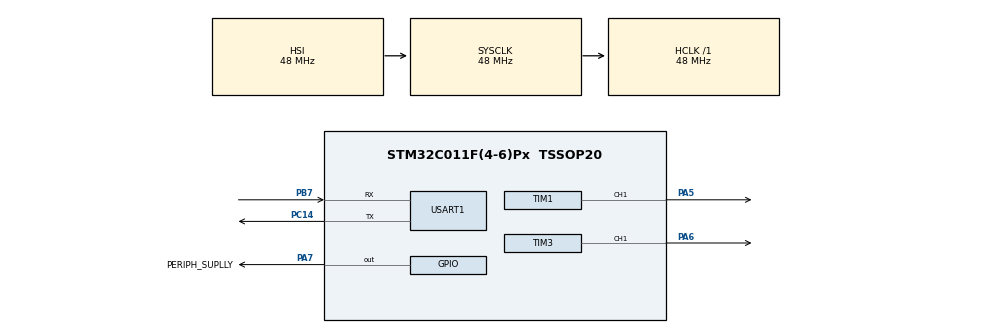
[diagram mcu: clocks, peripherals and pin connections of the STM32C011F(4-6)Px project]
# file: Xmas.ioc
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Dma.Request0=TIM3_CH1
Dma.TIM3_CH1.0.Direction=DMA_MEMORY_TO_PERIPH
Dma.TIM3_CH1.0.EventEnable=DISABLE
Dma.TIM3_CH1.0.Instance=DMA1_Channel1
Dma.TIM3_CH1.0.MemDataAlignment=DMA_MDATAALIGN_HALFWORD
Dma.TIM3_CH1.0.MemInc=DMA_MINC_ENABLE
Dma.TIM3_CH1.0.Mode=DMA_NORMAL
Dma.TIM3_CH1.0.PeriphDataAlignment=DMA_PDATAALIGN_HALFWORD
Dma.TIM3_CH1.0.PeriphInc=DMA_PINC_DISABLE
Dma.TIM3_CH1.0.Polarity=HAL_DMAMUX_REQ_GEN_RISING
Dma.TIM3_CH1.0.Priority=DMA_PRIORITY_VERY_HIGH
Dma.TIM3_CH1.0.RequestNumber=1
Dma.TIM3_CH1.0.SignalID=NONE
Dma.TIM3_CH1.0.SyncEnable=DISABLE
Dma.TIM3_CH1.0.SyncPolarity=HAL_DMAMUX_SYNC_NO_EVENT
Dma.TIM3_CH1.0.SyncRequestNumber=1
Dma.TIM3_CH1.0.SyncSignalID=NONE
Mcu.Family=STM32C0
Mcu.Name=STM32C011F(4-6)Px
Mcu.Package=TSSOP20
NVIC.DMA1_Channel1_IRQn=true\:0\:0\:false\:false\:true\:false\:true\:true
PA13.Mode=Serial_Wire
PA13.Signal=DEBUG_SWDIO
PA14-BOOT0.Mode=Serial_Wire
PA14-BOOT0.Signal=DEBUG_SWCLK
PA5.GPIO_Speed=GPIO_SPEED_FREQ_HIGH
PA5.Signal=S_TIM1_CH1
PA6.GPIO_Speed=GPIO_SPEED_FREQ_HIGH
PA6.PinState=GPIO_PIN_SET
PA6.Signal=S_TIM3_CH1
PA7.GPIO_Label=PERIPH_SUPLLY
PA7.GPIO_ModeDefaultOutputPP=GPIO_MODE_OUTPUT_OD
PA7.GPIO_PuPd=GPIO_PULLUP
PA7.GPIO_Speed=GPIO_SPEED_FREQ_LOW
PA7.PinState=GPIO_PIN_RESET
PA7.Signal=GPIO_Output
PB7.Mode=Asynchronous
PB7.Signal=USART1_RX
PC14-OSCX_IN\ (PC14).Mode=Asynchronous
PC14-OSCX_IN\ (PC14).Signal=USART1_TX
ProjectManager.HeapSize=0x200
ProjectManager.StackSize=0x400
ProjectManager.TargetToolchain=STM32CubeIDE
RCC.ADCFreq_Value=48000000
RCC.AHBFreq_Value=48000000
RCC.CortexFreq_Value=48000000
RCC.EXTERNAL_CLOCK_VALUE=12288000
RCC.HCLKFreq_Value=48000000
RCC.HSE_VALUE=8000000
RCC.HSISYSCLKDivider=RCC_HSI_DIV1
RCC.HSI_VALUE=48000000
RCC.LSE_VALUE=32768
RCC.SYSCLKFreq_VALUE=48000000
SH.S_TIM1_CH1.0=TIM1_CH1,PWM Generation1 CH1
SH.S_TIM3_CH1.0=TIM3_CH1,PWM Generation1 CH1
TIM1.Channel-PWM\ Generation1\ CH1=TIM_CHANNEL_1
TIM1.Period=50
TIM1.Prescaler=479
TIM3.Channel-PWM\ Generation1\ CH1=TIM_CHANNEL_1
TIM3.Period=9
TIM3.Prescaler=5
USART1.VirtualMode-Asynchronous=VM_ASYNC
VP_TIM1_VS_ClockSourceINT.Mode=Internal
VP_TIM3_VS_ClockSourceINT.Mode=Internal
board=custom

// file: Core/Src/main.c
/* USER CODE BEGIN Header */
/**
  ******************************************************************************
  * @file           : main.c
  * @brief          : Main program body
  ******************************************************************************
  * @attention
  *
  * Copyright (c) 2025 STMicroelectronics.
  * All rights reserved.
  *
  * This software is licensed under terms that can be found in the LICENSE file
  * in the root directory of this software component.
  * If no LICENSE file comes with this software, it is provided AS-IS.
  *
  ******************************************************************************
  */
/* USER CODE END Header */
#include "main.h"
#include <stdlib.h>
#include <string.h>
#include <math.h>
#include "WS2812B.h"

TIM_HandleTypeDef htim1;
TIM_HandleTypeDef htim3;
DMA_HandleTypeDef hdma_tim3_ch1;

UART_HandleTypeDef huart1;

/* USER CODE BEGIN PV */
//uint16_t buffer[28]; //pazi sto ti pise u IOC-u za DMA settings u ovom slucaju je Half Word sto je uint16_t

//buffer za LEDICE
uint32_t *pwmBuffer2 = NULL;

/* USER CODE END PV */

void SystemClock_Config(void);
static void MX_GPIO_Init(void);
static void MX_DMA_Init(void);
static void MX_TIM3_Init(void);
static void MX_TIM1_Init(void);
static void MX_USART1_UART_Init(void);
/* USER CODE BEGIN PFP */
//void begin(TIM_HandleTypeDef *_htim, DMA_HandleTypeDef *_hdmaPtr, uint32_t channel, uint32_t num_of_leds, uint32_t pause_Pulse, uint32_t work_Pulse, uint32_t prescaler);

/* USER CODE END PFP */

int main(void)
{

  /* MCU Configuration--------------------------------------------------------*/

  /* Reset of all peripherals, Initializes the Flash interface and the Systick. */
  HAL_Init();

  /* USER CODE BEGIN Init */
 // uint32_t melody_tone[] = {800, 956, 758};
 // uint32_t melody_dur[] = {1000, 1300, 1600};
  HAL_TIM_PWM_DeInit(&htim1);
  /* USER CODE END Init */

  /* Configure the system clock */
  SystemClock_Config();

  /* Initialize all configured peripherals */
  MX_GPIO_Init();
  MX_DMA_Init();
  MX_TIM3_Init();
  MX_TIM1_Init();
  MX_USART1_UART_Init();
  /* USER CODE BEGIN 2 */

  //melody1 is notes of jingle_bells melody  {E4, E4, E4, E4, E4, E4, E4, G4, C4 , D4 , E4, F4, F4, F4, F4, F4, E4, E4, E4, D4, D4, E4, D4, G4}
  uint16_t melody1[] = {329, 329, 329, 329, 329, 329, 329, 392, 261, 293, 329, 349, 349, 349, 349, 349, 329, 329, 329, 293, 293, 329, 293, 392};

  //duration of melodies
  uint16_t duration_melody[] = {250, 250, 250, 250, 250, 250, 250, 250, 250, 250, 250, 250, 250, 250, 250, 250, 250, 250, 250, 250, 250, 250, 250, 250};

  uint16_t brmelody = sizeof(melody1)/sizeof(uint16_t);

  uint32_t time = 0;
  begin(&htim3, &hdma_tim3_ch1 ,TIM_CHANNEL_1, 12);

	//free(pwmBuffer);
  /* USER CODE END 2 */

  /* Infinite loop */
  /* USER CODE BEGIN WHILE */
  while (1)
  {

		static int animation = 0;
		switch(animation)
		{
		case 0:
			X0();
			if(HAL_GetTick() - time >= 1000)
			  {
				animation = 1;
				time = HAL_GetTick();

			  }

			break;

		case 1:
			turnofLEDS();
			if(HAL_GetTick() - time >= 1000)
			  {
				animation = 2;
				time = HAL_GetTick();

			  }
			break;
		case 2:
			stars();
			if(HAL_GetTick() - time >= 1000)
			  {
				animation = 3;
				time = HAL_GetTick();

			  }
			break;
		case 3:
			turnofLEDS();
			if(HAL_GetTick() - time >= 500)
			  {
				animation = 4;
				time = HAL_GetTick();

			  }
			break;
		case 4:
			stars2();
			if(HAL_GetTick() - time >= 1000)
			  {
				animation = 0;
				time = HAL_GetTick();

			  }
			break;
		}
		//pwmBuffer[3] = (255<<0);

		turnOnLed(&htim3, &hdma_tim3_ch1 ,TIM_CHANNEL_1, 12);

    /* USER CODE END WHILE */

  }
}

void SystemClock_Config(void)
{
  RCC_OscInitTypeDef RCC_OscInitStruct = {0};
  RCC_ClkInitTypeDef RCC_ClkInitStruct = {0};

  /** Initializes the RCC Oscillators according to the specified parameters
  * in the RCC_OscInitTypeDef structure.
  */
  RCC_OscInitStruct.OscillatorType = RCC_OSCILLATORTYPE_HSI;
  RCC_OscInitStruct.HSIState = RCC_HSI_ON;
  RCC_OscInitStruct.HSIDiv = RCC_HSI_DIV1;
  RCC_OscInitStruct.HSICalibrationValue = RCC_HSICALIBRATION_DEFAULT;
  if (HAL_RCC_OscConfig(&RCC_OscInitStruct) != HAL_OK)
  {
    Error_Handler();
  }

  /** Initializes the CPU, AHB and APB buses clocks
  */
  RCC_ClkInitStruct.ClockType = RCC_CLOCKTYPE_HCLK|RCC_CLOCKTYPE_SYSCLK
                              |RCC_CLOCKTYPE_PCLK1;
  RCC_ClkInitStruct.SYSCLKSource = RCC_SYSCLKSOURCE_HSI;
  RCC_ClkInitStruct.SYSCLKDivider = RCC_SYSCLK_DIV1;
  RCC_ClkInitStruct.AHBCLKDivider = RCC_HCLK_DIV1;
  RCC_ClkInitStruct.APB1CLKDivider = RCC_APB1_DIV1;

  if (HAL_RCC_ClockConfig(&RCC_ClkInitStruct, FLASH_LATENCY_1) != HAL_OK)
  {
    Error_Handler();
  }
}

static void MX_TIM1_Init(void)
{

  TIM_ClockConfigTypeDef sClockSourceConfig = {0};
  TIM_MasterConfigTypeDef sMasterConfig = {0};
  TIM_OC_InitTypeDef sConfigOC = {0};
  TIM_BreakDeadTimeConfigTypeDef sBreakDeadTimeConfig = {0};

  htim1.Instance = TIM1;
  htim1.Init.Prescaler = 479;
  htim1.Init.CounterMode = TIM_COUNTERMODE_UP;
  htim1.Init.Period = 50;
  htim1.Init.ClockDivision = TIM_CLOCKDIVISION_DIV1;
  htim1.Init.RepetitionCounter = 0;
  htim1.Init.AutoReloadPreload = TIM_AUTORELOAD_PRELOAD_DISABLE;
  if (HAL_TIM_Base_Init(&htim1) != HAL_OK)
  {
    Error_Handler();
  }
  sClockSourceConfig.ClockSource = TIM_CLOCKSOURCE_INTERNAL;
  if (HAL_TIM_ConfigClockSource(&htim1, &sClockSourceConfig) != HAL_OK)
  {
    Error_Handler();
  }
  if (HAL_TIM_PWM_Init(&htim1) != HAL_OK)
  {
    Error_Handler();
  }
  sMasterConfig.MasterOutputTrigger = TIM_TRGO_RESET;
  sMasterConfig.MasterOutputTrigger2 = TIM_TRGO2_RESET;
  sMasterConfig.MasterSlaveMode = TIM_MASTERSLAVEMODE_DISABLE;
  if (HAL_TIMEx_MasterConfigSynchronization(&htim1, &sMasterConfig) != HAL_OK)
  {
    Error_Handler();
  }
  sConfigOC.OCMode = TIM_OCMODE_PWM1;
  sConfigOC.Pulse = 0;
  sConfigOC.OCPolarity = TIM_OCPOLARITY_HIGH;
  sConfigOC.OCNPolarity = TIM_OCNPOLARITY_HIGH;
  sConfigOC.OCFastMode = TIM_OCFAST_DISABLE;
  sConfigOC.OCIdleState = TIM_OCIDLESTATE_RESET;
  sConfigOC.OCNIdleState = TIM_OCNIDLESTATE_RESET;
  if (HAL_TIM_PWM_ConfigChannel(&htim1, &sConfigOC, TIM_CHANNEL_1) != HAL_OK)
  {
    Error_Handler();
  }
  sBreakDeadTimeConfig.OffStateRunMode = TIM_OSSR_DISABLE;
  sBreakDeadTimeConfig.OffStateIDLEMode = TIM_OSSI_DISABLE;
  sBreakDeadTimeConfig.LockLevel = TIM_LOCKLEVEL_OFF;
  sBreakDeadTimeConfig.DeadTime = 0;
  sBreakDeadTimeConfig.BreakState = TIM_BREAK_DISABLE;
  sBreakDeadTimeConfig.BreakPolarity = TIM_BREAKPOLARITY_HIGH;
  sBreakDeadTimeConfig.BreakFilter = 0;
  sBreakDeadTimeConfig.BreakAFMode = TIM_BREAK_AFMODE_INPUT;
  sBreakDeadTimeConfig.Break2State = TIM_BREAK2_DISABLE;
  sBreakDeadTimeConfig.Break2Polarity = TIM_BREAK2POLARITY_HIGH;
  sBreakDeadTimeConfig.Break2Filter = 0;
  sBreakDeadTimeConfig.Break2AFMode = TIM_BREAK_AFMODE_INPUT;
  sBreakDeadTimeConfig.AutomaticOutput = TIM_AUTOMATICOUTPUT_DISABLE;
  if (HAL_TIMEx_ConfigBreakDeadTime(&htim1, &sBreakDeadTimeConfig) != HAL_OK)
  {
    Error_Handler();
  }
  HAL_TIM_MspPostInit(&htim1);

}

static void MX_TIM3_Init(void)
{

  TIM_ClockConfigTypeDef sClockSourceConfig = {0};
  TIM_MasterConfigTypeDef sMasterConfig = {0};
  TIM_OC_InitTypeDef sConfigOC = {0};

  htim3.Instance = TIM3;
  htim3.Init.Prescaler = 5;
  htim3.Init.CounterMode = TIM_COUNTERMODE_UP;
  htim3.Init.Period = 9;
  htim3.Init.ClockDivision = TIM_CLOCKDIVISION_DIV1;
  htim3.Init.AutoReloadPreload = TIM_AUTORELOAD_PRELOAD_DISABLE;
  if (HAL_TIM_Base_Init(&htim3) != HAL_OK)
  {
    Error_Handler();
  }
  sClockSourceConfig.ClockSource = TIM_CLOCKSOURCE_INTERNAL;
  if (HAL_TIM_ConfigClockSource(&htim3, &sClockSourceConfig) != HAL_OK)
  {
    Error_Handler();
  }
  if (HAL_TIM_PWM_Init(&htim3) != HAL_OK)
  {
    Error_Handler();
  }
  sMasterConfig.MasterOutputTrigger = TIM_TRGO_RESET;
  sMasterConfig.MasterSlaveMode = TIM_MASTERSLAVEMODE_DISABLE;
  if (HAL_TIMEx_MasterConfigSynchronization(&htim3, &sMasterConfig) != HAL_OK)
  {
    Error_Handler();
  }
  sConfigOC.OCMode = TIM_OCMODE_PWM1;
  sConfigOC.Pulse = 0;
  sConfigOC.OCPolarity = TIM_OCPOLARITY_HIGH;
  sConfigOC.OCFastMode = TIM_OCFAST_DISABLE;
  if (HAL_TIM_PWM_ConfigChannel(&htim3, &sConfigOC, TIM_CHANNEL_1) != HAL_OK)
  {
    Error_Handler();
  }
  HAL_TIM_MspPostInit(&htim3);

}

static void MX_USART1_UART_Init(void)
{

  huart1.Instance = USART1;
  huart1.Init.BaudRate = 115200;
  huart1.Init.WordLength = UART_WORDLENGTH_8B;
  huart1.Init.StopBits = UART_STOPBITS_1;
  huart1.Init.Parity = UART_PARITY_NONE;
  huart1.Init.Mode = UART_MODE_TX_RX;
  huart1.Init.HwFlowCtl = UART_HWCONTROL_NONE;
  huart1.Init.OverSampling = UART_OVERSAMPLING_16;
  huart1.Init.OneBitSampling = UART_ONE_BIT_SAMPLE_DISABLE;
  huart1.Init.ClockPrescaler = UART_PRESCALER_DIV1;
  huart1.AdvancedInit.AdvFeatureInit = UART_ADVFEATURE_NO_INIT;
  if (HAL_UART_Init(&huart1) != HAL_OK)
  {
    Error_Handler();
  }
  if (HAL_UARTEx_SetTxFifoThreshold(&huart1, UART_TXFIFO_THRESHOLD_1_8) != HAL_OK)
  {
    Error_Handler();
  }
  if (HAL_UARTEx_SetRxFifoThreshold(&huart1, UART_RXFIFO_THRESHOLD_1_8) != HAL_OK)
  {
    Error_Handler();
  }
  if (HAL_UARTEx_DisableFifoMode(&huart1) != HAL_OK)
  {
    Error_Handler();
  }

}

static void MX_DMA_Init(void)
{

  /* DMA controller clock enable */
  __HAL_RCC_DMA1_CLK_ENABLE();

  /* DMA interrupt init */
  /* DMA1_Channel1_IRQn interrupt configuration */
  HAL_NVIC_SetPriority(DMA1_Channel1_IRQn, 0, 0);
  HAL_NVIC_EnableIRQ(DMA1_Channel1_IRQn);

}

static void MX_GPIO_Init(void)
{
  GPIO_InitTypeDef GPIO_InitStruct = {0};

  /* GPIO Ports Clock Enable */
  __HAL_RCC_GPIOB_CLK_ENABLE();
  __HAL_RCC_GPIOC_CLK_ENABLE();
  __HAL_RCC_GPIOA_CLK_ENABLE();

  /*Configure GPIO pin Output Level */
  HAL_GPIO_WritePin(PERIPH_SUPLLY_GPIO_Port, PERIPH_SUPLLY_Pin, GPIO_PIN_RESET);

  /*Configure GPIO pin : PERIPH_SUPLLY_Pin */
  GPIO_InitStruct.Pin = PERIPH_SUPLLY_Pin;
  GPIO_InitStruct.Mode = GPIO_MODE_OUTPUT_OD;
  GPIO_InitStruct.Pull = GPIO_PULLUP;
  GPIO_InitStruct.Speed = GPIO_SPEED_FREQ_LOW;
  HAL_GPIO_Init(PERIPH_SUPLLY_GPIO_Port, &GPIO_InitStruct);

}

/* USER CODE BEGIN 4 */
void animations()
{

}

void turnofLEDS()
{
	for(int i = 0; i <= 12; i++)
	{
		setLed(i, 0, 0, 0);
	}
}

/*void melody(TIM_HandleTypeDef *_htim, uint32_t freq, uint32_t duration_melody)
{
	uint32_t prescaler = ((HAL_RCC_GetSysClockFreq()/ (50*freq)) - 1);

	uint32_t period = ((HAL_RCC_GetSysClockFreq() / prescaler/freq)-1);

	uint32_t duty = period/2;

	__HAL_TIM_SET_PRESCALER(_htim, prescaler);

	__HAL_TIM_SET_AUTORELOAD(_htim, period);

	_htim->Instance->CCR1 = duty;

	//HAL_TIM_PWM_Start(_htim, TIM_CHANNEL_1);

	HAL_Delay(duration_melody);

	//HAL_TIM_PWM_Stop(_htim, TIM_CHANNEL_1);
}
*/
/* USER CODE END 4 */

void Error_Handler(void)
{
  __disable_irq();
  while (1)
  {
  }
}
